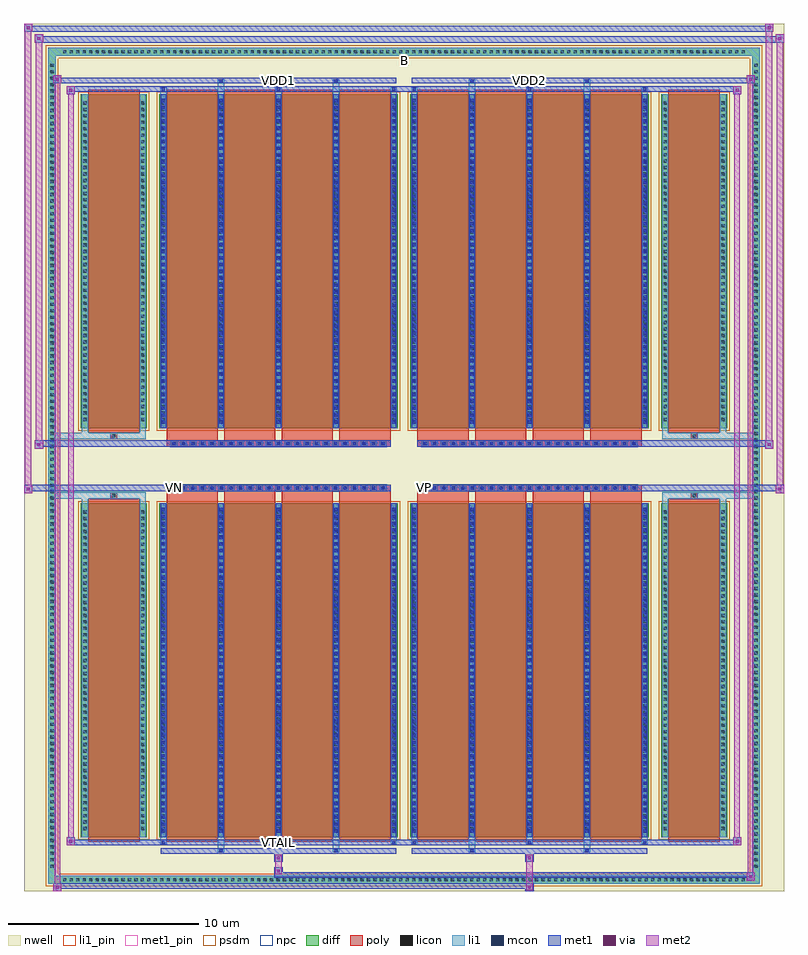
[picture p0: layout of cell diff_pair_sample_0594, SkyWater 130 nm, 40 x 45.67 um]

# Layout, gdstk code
import gdstk
lib = gdstk.Library(unit=1e-6, precision=5e-09)
def R(c, l, rs):  # rectangles x0, y0, x1, y1
    for r in rs: c.add(gdstk.rectangle(r[:2], r[2:], *l))
def A(c, l, x, y, w, h, nx, ny, dx, dy):  # array of equal rectangles
    R(c, l, [(x+i*dx, y+j*dy, x+i*dx+w, y+j*dy+h) for i in range(nx) for j in range(ny)])
def P(c, l, *ps):  # polygons
    for p in ps: c.add(gdstk.Polygon(p, *l))
nwell = (64, 20)
diff = (65, 20)
poly = (66, 20)
licon = (66, 44)
li1_pin = (67, 16)
li1 = (67, 20)
mcon = (67, 44)
met1_pin = (68, 16)
met1 = (68, 20)
via = (68, 44)
met2 = (69, 20)
psdm = (94, 20)
npc = (95, 20)

diff_pair_sample_0594 = lib.new_cell('diff_pair_sample_0594')
R(diff_pair_sample_0594, nwell, [(-20,-22.4,20,23.27), (-17.32,-20.59,-0.01,-0.805), (0.01,-20.59,17.32,-0.805), (-17.32,0.805,-0.01,20.59), (0.01,0.805,17.32,20.59)])
A(diff_pair_sample_0594, diff, -18.055, -22, 0.41, 0.41, 106, 2, 0.34, 43.59)
A(diff_pair_sample_0594, diff, -18.73, -21.285, 0.41, 0.41, 1, 125, 0, 0.34)
A(diff_pair_sample_0594, diff, 18.32, -21.285, 0.41, 0.41, 1, 125, 0, 0.34)
R(diff_pair_sample_0594, diff, [(-18.055,-22,18.055,-21.59), (-18.73,-21.285,-18.32,21.285), (18.32,-21.285,18.73,21.285), (-17.01,-19.545,-13.53,-1.985), (-12.89,-19.545,-0.32,-1.985), (0.32,-19.545,12.89,-1.985), (13.53,-19.545,17.01,-1.985), (-17.01,1.985,-13.53,19.545), (-12.89,1.985,-0.32,19.545), (0.32,1.985,12.89,19.545), (13.53,1.985,17.01,19.545), (-18.055,21.59,18.055,22)])
P(diff_pair_sample_0594, diff, [(18.73,22),(-18.73,22),(-18.73,-21.59),(-18.32,-21.59),(-18.32,21.59),(18.32,21.59),(18.32,-21.59),(-18.32,-21.59),(-18.73,-21.59),(-18.73,-22),(18.73,-22)])
A(diff_pair_sample_0594, poly, -12.5, -19.795, 2.7, 18.06, 4, 2, 3.03, 21.53)
A(diff_pair_sample_0594, poly, 0.71, -19.795, 2.7, 18.06, 4, 2, 3.03, 21.53)
A(diff_pair_sample_0594, poly, -12.5, -1.735, 2.7, 0.4, 4, 2, 3.03, 3.07)
A(diff_pair_sample_0594, poly, 0.71, -1.735, 2.7, 0.4, 4, 2, 3.03, 3.07)
A(diff_pair_sample_0594, poly, -12.27, -1.335, 0.33, 0.33, 23, 2, 0.5, 2.34)
A(diff_pair_sample_0594, poly, 0.94, -1.335, 0.33, 0.33, 23, 2, 0.5, 2.34)
R(diff_pair_sample_0594, poly, [(-16.62,-19.795,-13.92,-1.735), (13.92,-19.795,16.62,-1.735), (-15.435,-1.735,-15.105,-1.405), (-15.435,-1.735,-15.105,-1.405), (15.105,-1.735,15.435,-1.405), (15.105,-1.735,15.435,-1.405), (-12.5,-1.335,-0.71,-1.005), (0.71,-1.335,12.5,-1.005), (-12.5,1.005,-0.71,1.335), (0.71,1.005,12.5,1.335), (-15.435,1.405,-15.105,1.735), (-15.435,1.405,-15.105,1.735), (15.105,1.405,15.435,1.735), (15.105,1.405,15.435,1.735), (-16.62,1.735,-13.92,19.795), (13.92,1.735,16.62,19.795)])
A(diff_pair_sample_0594, licon, -17.935, -21.88, 0.17, 0.17, 106, 2, 0.34, 43.59)
A(diff_pair_sample_0594, licon, -18.61, -21.165, 0.17, 0.17, 1, 125, 0, 0.34)
A(diff_pair_sample_0594, licon, 18.44, -21.165, 0.17, 0.17, 1, 125, 0, 0.34)
A(diff_pair_sample_0594, licon, -16.87, -19.18, 0.17, 0.17, 1, 50, 0, 0.34)
A(diff_pair_sample_0594, licon, -13.84, -19.18, 0.17, 0.17, 1, 50, 0, 0.34)
A(diff_pair_sample_0594, licon, -12.75, -19.18, 0.17, 0.17, 5, 50, 3.03, 0.34)
A(diff_pair_sample_0594, licon, 0.46, -19.18, 0.17, 0.17, 5, 50, 3.03, 0.34)
A(diff_pair_sample_0594, licon, 13.67, -19.18, 0.17, 0.17, 1, 50, 0, 0.34)
A(diff_pair_sample_0594, licon, 16.7, -19.18, 0.17, 0.17, 1, 50, 0, 0.34)
A(diff_pair_sample_0594, licon, -12.19, -1.255, 0.17, 0.17, 23, 2, 0.5, 2.34)
A(diff_pair_sample_0594, licon, 1.02, -1.255, 0.17, 0.17, 23, 2, 0.5, 2.34)
A(diff_pair_sample_0594, licon, -16.87, 2.35, 0.17, 0.17, 1, 50, 0, 0.34)
A(diff_pair_sample_0594, licon, -13.84, 2.35, 0.17, 0.17, 1, 50, 0, 0.34)
A(diff_pair_sample_0594, licon, -12.75, 2.35, 0.17, 0.17, 5, 50, 3.03, 0.34)
A(diff_pair_sample_0594, licon, 0.46, 2.35, 0.17, 0.17, 5, 50, 3.03, 0.34)
A(diff_pair_sample_0594, licon, 13.67, 2.35, 0.17, 0.17, 1, 50, 0, 0.34)
A(diff_pair_sample_0594, licon, 16.7, 2.35, 0.17, 0.17, 1, 50, 0, 0.34)
R(diff_pair_sample_0594, licon, [(-15.355,-1.655,-15.185,-1.485), (15.185,-1.655,15.355,-1.485), (-15.355,1.485,-15.185,1.655), (15.185,1.485,15.355,1.655)])
R(diff_pair_sample_0594, li1_pin, [(-0.25,21.09,0.25,21.59)])
A(diff_pair_sample_0594, li1, -18.015, -21.96, 0.33, 0.33, 106, 2, 0.34, 43.59)
A(diff_pair_sample_0594, li1, -18.69, -21.245, 0.33, 0.33, 1, 125, 0, 0.34)
A(diff_pair_sample_0594, li1, 18.36, -21.245, 0.33, 0.33, 1, 125, 0, 0.34)
A(diff_pair_sample_0594, li1, -12.83, -19.92, 0.33, 0.375, 3, 2, 6.06, 39.465)
A(diff_pair_sample_0594, li1, -12.75, -19.92, 0.17, 0.17, 3, 2, 6.06, 39.67)
A(diff_pair_sample_0594, li1, 0.38, -19.92, 0.33, 0.375, 3, 2, 6.06, 39.465)
A(diff_pair_sample_0594, li1, 0.46, -19.92, 0.17, 0.17, 3, 2, 6.06, 39.67)
A(diff_pair_sample_0594, li1, -12.83, -19.545, 0.33, 17.56, 5, 2, 3.03, 21.53)
A(diff_pair_sample_0594, li1, 0.38, -19.545, 0.33, 17.56, 5, 2, 3.03, 21.53)
A(diff_pair_sample_0594, li1, -12.75, -19.31, 0.17, 0.17, 5, 48, 3.03, 0.36)
A(diff_pair_sample_0594, li1, -12.75, -19.31, 0.17, 17.09, 5, 2, 3.03, 21.53)
A(diff_pair_sample_0594, li1, 0.46, -19.31, 0.17, 0.17, 5, 48, 3.03, 0.36)
A(diff_pair_sample_0594, li1, 0.46, -19.31, 0.17, 17.09, 5, 2, 3.03, 21.53)
A(diff_pair_sample_0594, li1, -16.95, -19.26, 0.33, 0.33, 1, 50, 0, 0.34)
A(diff_pair_sample_0594, li1, -13.92, -19.26, 0.33, 0.33, 1, 50, 0, 0.34)
A(diff_pair_sample_0594, li1, -12.83, -19.26, 0.33, 0.33, 5, 50, 3.03, 0.34)
A(diff_pair_sample_0594, li1, 0.38, -19.26, 0.33, 0.33, 5, 50, 3.03, 0.34)
A(diff_pair_sample_0594, li1, 13.59, -19.26, 0.33, 0.33, 1, 50, 0, 0.34)
A(diff_pair_sample_0594, li1, 16.62, -19.26, 0.33, 0.33, 1, 50, 0, 0.34)
A(diff_pair_sample_0594, li1, -12.27, -1.335, 0.33, 0.33, 23, 2, 0.5, 2.34)
A(diff_pair_sample_0594, li1, 0.94, -1.335, 0.33, 0.33, 23, 2, 0.5, 2.34)
A(diff_pair_sample_0594, li1, -12.75, 2.22, 0.17, 0.17, 5, 48, 3.03, 0.36)
A(diff_pair_sample_0594, li1, 0.46, 2.22, 0.17, 0.17, 5, 48, 3.03, 0.36)
A(diff_pair_sample_0594, li1, -16.95, 2.27, 0.33, 0.33, 1, 50, 0, 0.34)
A(diff_pair_sample_0594, li1, -13.92, 2.27, 0.33, 0.33, 1, 50, 0, 0.34)
A(diff_pair_sample_0594, li1, -12.83, 2.27, 0.33, 0.33, 5, 50, 3.03, 0.34)
A(diff_pair_sample_0594, li1, 0.38, 2.27, 0.33, 0.33, 5, 50, 3.03, 0.34)
A(diff_pair_sample_0594, li1, 13.59, 2.27, 0.33, 0.33, 1, 50, 0, 0.34)
A(diff_pair_sample_0594, li1, 16.62, 2.27, 0.33, 0.33, 1, 50, 0, 0.34)
R(diff_pair_sample_0594, li1, [(-18.73,-22,-18.32,-21.59), (-18.73,-22,-18.32,-21.59), (-18.32,-22,18.32,-21.59), (18.32,-22,18.73,-21.59), (18.32,-22,18.73,-21.59), (-18.73,-21.59,-18.32,21.59), (18.32,-21.59,18.73,21.59), (-9.8,-20.35,-9.47,-19.545), (-9.72,-20.35,-9.55,-20.18), (-3.74,-20.35,-3.41,-19.545), (-3.66,-20.35,-3.49,-20.18), (3.41,-20.35,3.74,-19.545), (3.49,-20.35,3.66,-20.18), (9.47,-20.35,9.8,-19.545), (9.55,-20.35,9.72,-20.18), (-16.95,-19.545,-16.62,-1.985), (-13.92,-19.545,-13.59,-1.985), (13.59,-19.545,13.92,-1.985), (16.62,-19.545,16.95,-1.985), (-16.95,-1.985,-16.62,-1.405), (-13.92,-1.985,-13.59,-1.405), (13.59,-1.985,13.92,-1.405), (16.62,-1.985,16.95,-1.405), (-18.73,-1.735,-15.435,-1.405), (-16.95,-1.735,-15.435,-1.405), (-15.435,-1.735,-15.105,-1.405), (-15.105,-1.735,-13.59,-1.405), (13.59,-1.735,15.105,-1.405), (15.105,-1.735,15.435,-1.405), (15.105,-1.735,18.73,-1.405), (15.435,-1.735,16.95,-1.405), (-18.73,1.405,-15.435,1.735), (-16.95,1.405,-15.435,1.735), (-16.95,1.405,-16.62,1.985), (-15.435,1.405,-15.105,1.735), (-15.105,1.405,-13.59,1.735), (-13.92,1.405,-13.59,1.985), (13.59,1.405,15.105,1.735), (13.59,1.405,13.92,1.985), (15.105,1.405,15.435,1.735), (15.105,1.405,18.73,1.735), (15.435,1.405,16.95,1.735), (16.62,1.405,16.95,1.985), (-16.95,1.985,-16.62,19.545), (-13.92,1.985,-13.59,19.545), (13.59,1.985,13.92,19.545), (16.62,1.985,16.95,19.545), (-9.8,19.545,-9.47,20.35), (-3.74,19.545,-3.41,20.35), (3.41,19.545,3.74,20.35), (9.47,19.545,9.8,20.35), (-9.72,20.18,-9.55,20.35), (-3.66,20.18,-3.49,20.35), (3.49,20.18,3.66,20.35), (9.55,20.18,9.72,20.35), (-18.73,21.59,-18.32,22), (-18.73,21.59,-18.32,22), (-18.32,21.59,18.32,22), (18.32,21.59,18.73,22), (18.32,21.59,18.73,22)])
A(diff_pair_sample_0594, mcon, -12.75, -19.92, 0.17, 0.17, 3, 2, 6.06, 39.67)
A(diff_pair_sample_0594, mcon, 0.46, -19.92, 0.17, 0.17, 3, 2, 6.06, 39.67)
A(diff_pair_sample_0594, mcon, -12.75, -19.31, 0.17, 0.17, 5, 48, 3.03, 0.36)
A(diff_pair_sample_0594, mcon, 0.46, -19.31, 0.17, 0.17, 5, 48, 3.03, 0.36)
A(diff_pair_sample_0594, mcon, -12.19, -1.255, 0.17, 0.17, 23, 2, 0.5, 2.34)
A(diff_pair_sample_0594, mcon, 1.02, -1.255, 0.17, 0.17, 23, 2, 0.5, 2.34)
A(diff_pair_sample_0594, mcon, -12.75, 2.22, 0.17, 0.17, 5, 48, 3.03, 0.36)
A(diff_pair_sample_0594, mcon, 0.46, 2.22, 0.17, 0.17, 5, 48, 3.03, 0.36)
R(diff_pair_sample_0594, mcon, [(-9.72,-20.35,-9.55,-20.18), (-3.66,-20.35,-3.49,-20.18), (3.49,-20.35,3.66,-20.18), (9.55,-20.35,9.72,-20.18), (-9.72,20.18,-9.55,20.35), (-3.66,20.18,-3.49,20.35), (3.49,20.18,3.66,20.35), (9.55,20.18,9.72,20.35)])
R(diff_pair_sample_0594, met1_pin, [(-6.74,-19.96,-6.47,-19.69), (-12.24,-1.295,-11.97,-1.025), (0.97,-1.295,1.24,-1.025), (-6.74,20.14,-6.47,20.41), (6.47,20.14,6.74,20.41)])
A(diff_pair_sample_0594, met1, -12.81, -19.98, 0.29, 0.29, 3, 2, 6.06, 39.67)
A(diff_pair_sample_0594, met1, 0.4, -19.98, 0.29, 0.29, 3, 2, 6.06, 39.67)
A(diff_pair_sample_0594, met1, -12.81, -19.545, 0.29, 17.56, 5, 2, 3.03, 21.53)
A(diff_pair_sample_0594, met1, 0.4, -19.545, 0.29, 17.56, 5, 2, 3.03, 21.53)
A(diff_pair_sample_0594, met1, -12.81, -19.37, 0.29, 0.29, 5, 48, 3.03, 0.36)
A(diff_pair_sample_0594, met1, 0.4, -19.37, 0.29, 0.29, 5, 48, 3.03, 0.36)
A(diff_pair_sample_0594, met1, -12.25, -1.315, 0.29, 0.29, 23, 2, 0.5, 2.34)
A(diff_pair_sample_0594, met1, 0.96, -1.315, 0.29, 0.29, 23, 2, 0.5, 2.34)
A(diff_pair_sample_0594, met1, -12.81, 2.16, 0.29, 0.29, 5, 48, 3.03, 0.36)
A(diff_pair_sample_0594, met1, 0.4, 2.16, 0.29, 0.29, 5, 48, 3.03, 0.36)
R(diff_pair_sample_0594, met1, [(-18.46,-22.4,-18.03,-21.97), (6.39,-22.4,6.82,-21.97), (-18.46,-22.26,6.82,-21.97), (18.03,-21.83,18.46,-21.4), (-6.82,-21.69,18.46,-21.4), (-6.82,-21.55,-6.39,-21.12), (-6.82,-20.84,-6.39,-20.41), (6.39,-20.84,6.82,-20.41), (-12.81,-20.41,-0.4,-20.12), (-9.78,-20.41,-9.49,-20.12), (-3.72,-20.41,-3.43,-20.12), (0.4,-20.41,12.81,-20.12), (3.43,-20.41,3.72,-20.12), (9.49,-20.41,9.78,-20.12), (-17.75,-19.98,-17.32,-19.55), (-17.75,-19.98,-12.81,-19.69), (-12.81,-19.98,-0.4,-19.69), (-0.4,-19.98,0.4,-19.69), (0.4,-19.98,12.81,-19.69), (12.81,-19.98,17.75,-19.69), (17.32,-19.98,17.75,-19.55), (-20,-1.435,-19.57,-1.005), (19.57,-1.435,20,-1.005), (-20,-1.335,-0.71,-1.005), (-12.5,-1.335,-0.71,-1.005), (0.71,-1.335,12.5,-1.005), (0.71,-1.335,20,-1.005), (-19.43,0.905,-19,1.335), (19,0.905,19.43,1.335), (-19.43,1.005,-12.5,1.335), (-12.5,1.005,-0.71,1.335), (0.71,1.005,12.5,1.335), (12.5,1.005,19.43,1.335), (-17.75,19.55,-17.32,19.98), (17.32,19.55,17.75,19.98), (-17.75,19.69,-12.81,19.98), (-12.81,19.69,-0.4,19.98), (-0.4,19.69,0.4,19.98), (0.4,19.69,12.81,19.98), (12.81,19.69,17.75,19.98), (-18.46,20.12,-18.03,20.55), (-18.46,20.12,-12.81,20.41), (-12.81,20.12,-0.4,20.41), (-9.78,20.12,-9.49,20.41), (-3.72,20.12,-3.43,20.41), (0.4,20.12,12.81,20.41), (3.43,20.12,3.72,20.41), (9.49,20.12,9.78,20.41), (12.81,20.12,18.46,20.41), (18.03,20.12,18.46,20.55), (-19.43,22.27,-19,22.7), (-19.43,22.27,-17.32,22.6), (-17.32,22.27,17.32,22.6), (17.32,22.27,20,22.6), (19.57,22.27,20,22.7), (-20,22.84,-19.57,23.27), (-20,22.84,-17.32,23.17), (-17.32,22.84,17.32,23.17), (17.32,22.84,19.43,23.17), (19,22.84,19.43,23.27)])
R(diff_pair_sample_0594, via, [(-18.32,-22.26,-18.17,-22.11), (6.53,-22.26,6.68,-22.11), (18.17,-21.69,18.32,-21.54), (-6.68,-21.41,-6.53,-21.26), (-6.68,-20.7,-6.53,-20.55), (6.53,-20.7,6.68,-20.55), (-17.61,-19.84,-17.46,-19.69), (17.46,-19.84,17.61,-19.69), (-19.86,-1.295,-19.71,-1.145), (19.71,-1.295,19.86,-1.145), (-19.29,1.045,-19.14,1.195), (19.14,1.045,19.29,1.195), (-17.61,19.69,-17.46,19.84), (17.46,19.69,17.61,19.84), (-18.32,20.26,-18.17,20.41), (18.17,20.26,18.32,20.41), (-19.29,22.41,-19.14,22.56), (19.71,22.41,19.86,22.56), (-19.86,22.98,-19.71,23.13), (19.14,22.98,19.29,23.13)])
R(diff_pair_sample_0594, met2, [(-18.46,-22.4,-18.03,-21.97), (-18.39,-22.4,-18.1,20.55), (-18.1,-22.4,-18.03,-21.97), (-18.41,-22.35,-18.08,-22.02), (6.44,-22.35,6.77,-22.02), (6.44,-22.02,6.77,-20.79), (18.03,-21.83,18.46,-21.4), (18.1,-21.83,18.39,20.55), (18.39,-21.83,18.46,-21.4), (18.08,-21.78,18.41,-21.45), (-6.77,-21.5,-6.44,-21.17), (-6.77,-21.17,-6.44,-20.79), (-6.77,-20.79,-6.44,-20.46), (6.44,-20.79,6.77,-20.46), (-17.75,-19.98,-17.32,-19.55), (-17.68,-19.98,-17.39,19.98), (-17.39,-19.98,-17.32,-19.55), (17.32,-19.98,17.75,-19.55), (17.39,-19.98,17.68,19.98), (17.68,-19.98,17.75,-19.55), (-17.7,-19.93,-17.37,-19.6), (17.37,-19.93,17.7,-19.6), (-20,-1.435,-19.57,-1.005), (-19.95,-1.435,-19.62,23.27), (-19.62,-1.435,-19.57,-1.005), (19.57,-1.435,20,-1.005), (19.62,-1.435,19.95,22.7), (19.95,-1.435,20,-1.005), (-19.95,-1.385,-19.62,-1.055), (19.62,-1.385,19.95,-1.055), (-19.43,0.905,-19,1.335), (-19.38,0.905,-19.05,22.7), (-19.05,0.905,-19,1.335), (19,0.905,19.43,1.335), (19.05,0.905,19.38,23.27), (19.38,0.905,19.43,1.335), (-19.38,0.955,-19.05,1.285), (19.05,0.955,19.38,1.285), (-17.75,19.55,-17.32,19.98), (-17.39,19.55,-17.32,19.98), (17.32,19.55,17.75,19.98), (17.68,19.55,17.75,19.98), (-17.7,19.6,-17.37,19.93), (17.37,19.6,17.7,19.93), (-18.46,20.12,-18.03,20.55), (-18.1,20.12,-18.03,20.55), (18.03,20.12,18.46,20.55), (18.39,20.12,18.46,20.55), (-18.41,20.17,-18.08,20.5), (18.08,20.17,18.41,20.5), (-19.43,22.27,-19,22.7), (-19.05,22.27,-19,22.7), (19.57,22.27,20,22.7), (19.95,22.27,20,22.7), (-19.38,22.32,-19.05,22.65), (19.62,22.32,19.95,22.65), (-20,22.84,-19.57,23.27), (-19.62,22.84,-19.57,23.27), (19,22.84,19.43,23.27), (19.38,22.84,19.43,23.27), (-19.95,22.89,-19.62,23.22), (19.05,22.89,19.38,23.22)])
R(diff_pair_sample_0594, psdm, [(-17.14,-19.675,-13.4,-1.855), (-13.02,-19.675,-0.19,-1.855), (0.19,-19.675,13.02,-1.855), (13.4,-19.675,17.14,-1.855), (-17.14,1.855,-13.4,19.675), (-13.02,1.855,-0.19,19.675), (0.19,1.855,13.02,19.675), (13.4,1.855,17.14,19.675)])
P(diff_pair_sample_0594, psdm, [(18.86,22.13),(-18.86,22.13),(-18.86,-21.46),(-18.19,-21.46),(-18.19,21.46),(18.19,21.46),(18.19,-21.46),(-18.19,-21.46),(-18.86,-21.46),(-18.86,-22.13),(18.86,-22.13)])
A(diff_pair_sample_0594, npc, -12.29, -1.355, 0.37, 0.37, 23, 2, 0.5, 2.34)
A(diff_pair_sample_0594, npc, 0.92, -1.355, 0.37, 0.37, 23, 2, 0.5, 2.34)
R(diff_pair_sample_0594, npc, [(-15.455,-1.755,-15.085,-1.385), (15.085,-1.755,15.455,-1.385), (-12.29,-1.355,-11.42,-0.985), (-12.29,-1.355,-11.42,-0.985), (-11.79,-1.355,-10.92,-0.985), (-11.79,-1.355,-10.92,-0.985), (-11.29,-1.355,-10.42,-0.985), (-11.29,-1.355,-10.42,-0.985), (-10.79,-1.355,-9.92,-0.985), (-10.79,-1.355,-9.92,-0.985), (-10.29,-1.355,-9.42,-0.985), (-10.29,-1.355,-9.42,-0.985), (-9.79,-1.355,-8.92,-0.985), (-9.79,-1.355,-8.92,-0.985), (-9.29,-1.355,-8.42,-0.985), (-9.29,-1.355,-8.42,-0.985), (-8.79,-1.355,-7.92,-0.985), (-8.79,-1.355,-7.92,-0.985), (-8.29,-1.355,-7.42,-0.985), (-8.29,-1.355,-7.42,-0.985), (-7.79,-1.355,-6.92,-0.985), (-7.79,-1.355,-6.92,-0.985), (-7.29,-1.355,-6.42,-0.985), (-7.29,-1.355,-6.42,-0.985), (-6.79,-1.355,-5.92,-0.985), (-6.79,-1.355,-5.92,-0.985), (-6.29,-1.355,-5.42,-0.985), (-6.29,-1.355,-5.42,-0.985), (-5.79,-1.355,-4.92,-0.985), (-5.79,-1.355,-4.92,-0.985), (-5.29,-1.355,-4.42,-0.985), (-5.29,-1.355,-4.42,-0.985), (-4.79,-1.355,-3.92,-0.985), (-4.79,-1.355,-3.92,-0.985), (-4.29,-1.355,-3.42,-0.985), (-4.29,-1.355,-3.42,-0.985), (-3.79,-1.355,-2.92,-0.985), (-3.79,-1.355,-2.92,-0.985), (-3.29,-1.355,-2.42,-0.985), (-3.29,-1.355,-2.42,-0.985), (-2.79,-1.355,-1.92,-0.985), (-2.79,-1.355,-1.92,-0.985), (-2.29,-1.355,-1.42,-0.985), (-2.29,-1.355,-1.42,-0.985), (-1.79,-1.355,-0.92,-0.985), (-1.79,-1.355,-0.92,-0.985), (0.92,-1.355,1.79,-0.985), (0.92,-1.355,1.79,-0.985), (1.42,-1.355,2.29,-0.985), (1.42,-1.355,2.29,-0.985), (1.92,-1.355,2.79,-0.985), (1.92,-1.355,2.79,-0.985), (2.42,-1.355,3.29,-0.985), (2.42,-1.355,3.29,-0.985), (2.92,-1.355,3.79,-0.985), (2.92,-1.355,3.79,-0.985), (3.42,-1.355,4.29,-0.985), (3.42,-1.355,4.29,-0.985), (3.92,-1.355,4.79,-0.985), (3.92,-1.355,4.79,-0.985), (4.42,-1.355,5.29,-0.985), (4.42,-1.355,5.29,-0.985), (4.92,-1.355,5.79,-0.985), (4.92,-1.355,5.79,-0.985), (5.42,-1.355,6.29,-0.985), (5.42,-1.355,6.29,-0.985), (5.92,-1.355,6.79,-0.985), (5.92,-1.355,6.79,-0.985), (6.42,-1.355,7.29,-0.985), (6.42,-1.355,7.29,-0.985), (6.92,-1.355,7.79,-0.985), (6.92,-1.355,7.79,-0.985), (7.42,-1.355,8.29,-0.985), (7.42,-1.355,8.29,-0.985), (7.92,-1.355,8.79,-0.985), (7.92,-1.355,8.79,-0.985), (8.42,-1.355,9.29,-0.985), (8.42,-1.355,9.29,-0.985), (8.92,-1.355,9.79,-0.985), (8.92,-1.355,9.79,-0.985), (9.42,-1.355,10.29,-0.985), (9.42,-1.355,10.29,-0.985), (9.92,-1.355,10.79,-0.985), (9.92,-1.355,10.79,-0.985), (10.42,-1.355,11.29,-0.985), (10.42,-1.355,11.29,-0.985), (10.92,-1.355,11.79,-0.985), (10.92,-1.355,11.79,-0.985), (11.42,-1.355,12.29,-0.985), (11.42,-1.355,12.29,-0.985), (-12.29,0.985,-11.42,1.355), (-12.29,0.985,-11.42,1.355), (-11.79,0.985,-10.92,1.355), (-11.79,0.985,-10.92,1.355), (-11.29,0.985,-10.42,1.355), (-11.29,0.985,-10.42,1.355), (-10.79,0.985,-9.92,1.355), (-10.79,0.985,-9.92,1.355), (-10.29,0.985,-9.42,1.355), (-10.29,0.985,-9.42,1.355), (-9.79,0.985,-8.92,1.355), (-9.79,0.985,-8.92,1.355), (-9.29,0.985,-8.42,1.355), (-9.29,0.985,-8.42,1.355), (-8.79,0.985,-7.92,1.355), (-8.79,0.985,-7.92,1.355), (-8.29,0.985,-7.42,1.355), (-8.29,0.985,-7.42,1.355), (-7.79,0.985,-6.92,1.355), (-7.79,0.985,-6.92,1.355), (-7.29,0.985,-6.42,1.355), (-7.29,0.985,-6.42,1.355), (-6.79,0.985,-5.92,1.355), (-6.79,0.985,-5.92,1.355), (-6.29,0.985,-5.42,1.355), (-6.29,0.985,-5.42,1.355), (-5.79,0.985,-4.92,1.355), (-5.79,0.985,-4.92,1.355), (-5.29,0.985,-4.42,1.355), (-5.29,0.985,-4.42,1.355), (-4.79,0.985,-3.92,1.355), (-4.79,0.985,-3.92,1.355), (-4.29,0.985,-3.42,1.355), (-4.29,0.985,-3.42,1.355), (-3.79,0.985,-2.92,1.355), (-3.79,0.985,-2.92,1.355), (-3.29,0.985,-2.42,1.355), (-3.29,0.985,-2.42,1.355), (-2.79,0.985,-1.92,1.355), (-2.79,0.985,-1.92,1.355), (-2.29,0.985,-1.42,1.355), (-2.29,0.985,-1.42,1.355), (-1.79,0.985,-0.92,1.355), (-1.79,0.985,-0.92,1.355), (0.92,0.985,1.79,1.355), (0.92,0.985,1.79,1.355), (1.42,0.985,2.29,1.355), (1.42,0.985,2.29,1.355), (1.92,0.985,2.79,1.355), (1.92,0.985,2.79,1.355), (2.42,0.985,3.29,1.355), (2.42,0.985,3.29,1.355), (2.92,0.985,3.79,1.355), (2.92,0.985,3.79,1.355), (3.42,0.985,4.29,1.355), (3.42,0.985,4.29,1.355), (3.92,0.985,4.79,1.355), (3.92,0.985,4.79,1.355), (4.42,0.985,5.29,1.355), (4.42,0.985,5.29,1.355), (4.92,0.985,5.79,1.355), (4.92,0.985,5.79,1.355), (5.42,0.985,6.29,1.355), (5.42,0.985,6.29,1.355), (5.92,0.985,6.79,1.355), (5.92,0.985,6.79,1.355), (6.42,0.985,7.29,1.355), (6.42,0.985,7.29,1.355), (6.92,0.985,7.79,1.355), (6.92,0.985,7.79,1.355), (7.42,0.985,8.29,1.355), (7.42,0.985,8.29,1.355), (7.92,0.985,8.79,1.355), (7.92,0.985,8.79,1.355), (8.42,0.985,9.29,1.355), (8.42,0.985,9.29,1.355), (8.92,0.985,9.79,1.355), (8.92,0.985,9.79,1.355), (9.42,0.985,10.29,1.355), (9.42,0.985,10.29,1.355), (9.92,0.985,10.79,1.355), (9.92,0.985,10.79,1.355), (10.42,0.985,11.29,1.355), (10.42,0.985,11.29,1.355), (10.92,0.985,11.79,1.355), (10.92,0.985,11.79,1.355), (11.42,0.985,12.29,1.355), (11.42,0.985,12.29,1.355), (-15.455,1.385,-15.085,1.755), (15.085,1.385,15.455,1.755)])
diff_pair_sample_0594.add(gdstk.Label('VTAIL', (-6.605,-19.825), layer=68, texttype=5))
diff_pair_sample_0594.add(gdstk.Label('VN', (-12.105,-1.16), layer=68, texttype=5))
diff_pair_sample_0594.add(gdstk.Label('VP', (1.105,-1.16), layer=68, texttype=5))
diff_pair_sample_0594.add(gdstk.Label('B', (0,21.34), layer=67, texttype=5))
diff_pair_sample_0594.add(gdstk.Label('VDD2', (6.605,20.275), layer=68, texttype=5))
diff_pair_sample_0594.add(gdstk.Label('VDD1', (-6.605,20.275), layer=68, texttype=5))

lib.write_gds('diff_pair_sample_0594.gds')
